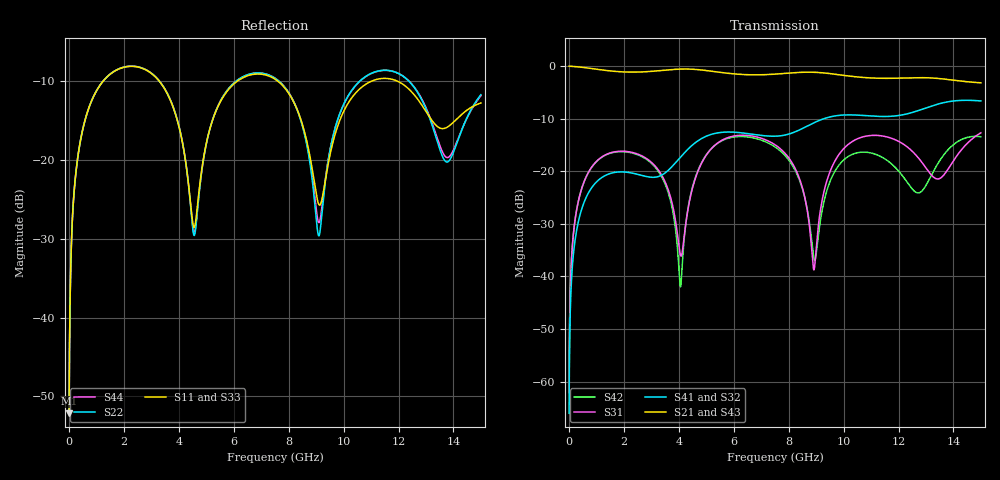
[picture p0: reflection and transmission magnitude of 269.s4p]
! Created with skrf 1.8.0 (http://scikit-rf.org).
# GHz S RI R 50.0
!freq ReS11 ImS11 ReS12 ImS12 ReS13 ImS13
! ReS14 ImS14
! ReS21 ImS21 ReS22 ImS22 ReS23 ImS23
! ReS24 ImS24
! ReS31 ImS31 ReS32 ImS32 ReS33 ImS33
! ReS34 ImS34
! ReS41 ImS41 ReS42 ImS42 ReS43 ImS43
! ReS44 ImS44
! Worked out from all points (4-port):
!   2499 points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, 5 MHz to 15 GHz, reference 50 ohm
!   strongest paths, dB at 5 MHz, 3.476 GHz, 7.19 GHz, 11.1 GHz, 15 GHz:
!     S21: 0.0, -0.8, -1.6, -2.3, -3.2
!     S43: 0.0, -0.8, -1.6, -2.3, -3.2
!     S41: -66.0, -20.4, -13.3, -9.5, -6.6
!     S32: -66.0, -20.4, -13.4, -9.5, -6.6
!     S31: -62.1, -21.7, -14.1, -13.2, -12.7
!     S42: -62.1, -22.1, -14.5, -16.7, -13.4
!   lowest |S11| = -52.2 dB at 5 MHz (marker M1), VSWR 1.00, Z = 50.2 + j0.15 ohm
!   |S11| at or under -10 dB: 3.288 GHz to 6.13 GHz (2.842 GHz wide, 60.3 % of centre); 7.605 GHz to 11.02 GHz (3.41 GHz wide, 36.6 % of centre); 11.96 GHz to end of sweep (the widest 3 of 4)
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0.005  0.00197 0.00149  0.998 -0.00382  9.99e-05 0.000783  -9.7e-05 -0.000491
       0.998 -0.00382  0.00197 0.00149  -9.7e-05 -0.000491  9.99e-05 0.000783
       9.99e-05 0.000783  -9.7e-05 -0.000491  0.00197 0.00149  0.998 -0.00382
       -9.7e-05 -0.000491  9.99e-05 0.000783  0.998 -0.00382  0.00197 0.00149
0.3126303  0.0327 0.0963  0.9552 -0.2359  0.0156 0.0453  -0.0128 -0.0278
           0.9552 -0.2359  0.0327 0.0963  -0.0128 -0.0278  0.0153 0.0454
           0.0156 0.0453  -0.0128 -0.0278  0.0327 0.0963  0.9551 -0.2359
           -0.0128 -0.0278  0.0153 0.0454  0.9551 -0.2359  0.0327 0.0963
1.3193  0.2765 0.1758  0.5354 -0.7366  0.1308 0.0575  -0.0911 -0.00403
        0.5354 -0.7366  0.2774 0.1751  -0.091 -0.00417  0.1282 0.061
        0.1308 0.0575  -0.091 -0.00417  0.2766 0.1758  0.5353 -0.7366
        -0.0911 -0.00403  0.1282 0.061  0.5353 -0.7366  0.2774 0.1752
4.445602  0.0378 -0.0318  -0.9247 -0.1371  -0.00816 0.0604  -0.0215 0.1717
          -0.9247 -0.1371  0.0335 -0.0333  -0.0238 0.1715  -0.00387 0.0624
          -0.00816 0.0604  -0.0238 0.1715  0.0368 -0.0322  -0.9247 -0.137
          -0.0215 0.1717  -0.00387 0.0624  -0.9247 -0.137  0.0346 -0.0336
9.197582  0.0528 0.015  0.8583 0.1039  0.0346 0.0354  0.0216 -0.3097
          0.8583 0.1039  0.035 0.0252  0.0312 -0.309  -0.000631 0.0396
          0.0346 0.0354  0.0312 -0.309  0.0469 0.0122  0.8584 0.1034
          0.0216 -0.3097  -0.000631 0.0396  0.8584 0.1034  0.042 0.0229
11.97999  0.313 -0.0375  -0.087 -0.7628  0.0565 -0.1855  -0.3284 0.0813
          -0.087 -0.7628  0.3465 -0.0788  -0.3306 0.0682  0.0502 -0.089
          0.0565 -0.1855  -0.3306 0.0682  0.314 -0.0385  -0.0895 -0.7622
          -0.3284 0.0813  0.0502 -0.089  -0.0895 -0.7622  0.3459 -0.082
15  0.228 0.0297  -0.584 0.3746  0.2311 0.0212  0.3186 0.3403
    -0.584 0.3746  0.2343 0.1119  0.3035 0.3528  0.1724 0.1245
    0.2311 0.0212  0.3035 0.3528  0.2269 0.0318  -0.582 0.3788
    0.3186 0.3403  0.1724 0.1245  -0.582 0.3788  0.2353 0.1005
